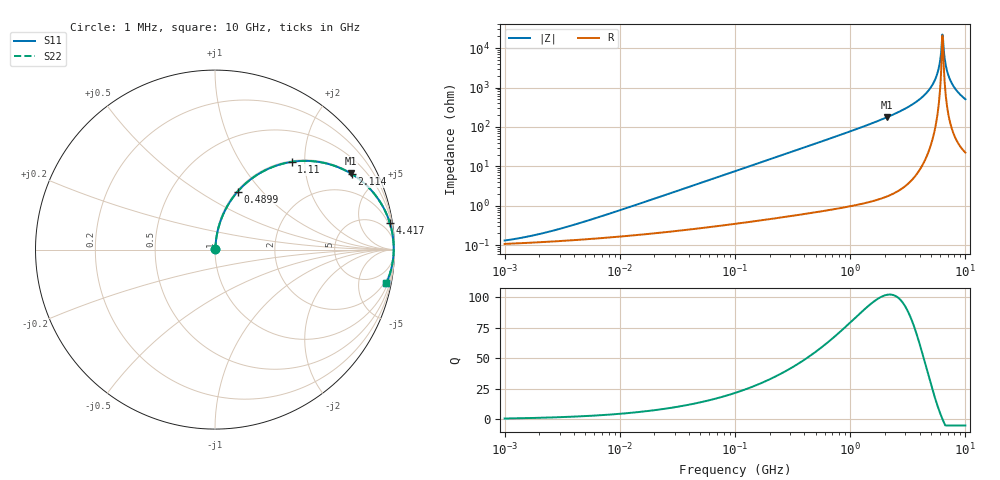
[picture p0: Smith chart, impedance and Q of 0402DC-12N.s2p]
# MHz  S  MA  R  50
!Freq  MagS11  AngS11  MagS21  AngS21  MagS12  AngS12  MagS22  AngS22
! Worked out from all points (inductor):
!   801 points, 1 MHz to 10 GHz, reference 50 ohm
!   read as one part in series: L = 12 nH near 5.822 MHz
!   highest Q = 102 at 2.09 GHz (marker M1), where L = 13.5 nH
!   self-resonance near 6.312 GHz
!   S11 on the Smith chart (normalised r, x): 1 MHz: 1.00, +0.00; 489.9 MHz: 1.01, +0.74; 1.11 GHz: 1.02, +1.73; 2.114 GHz: 1.04, +3.59; 4.417 GHz: 1, +13; 10 GHz: 1, -10
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1  0.001316 34.9  0.9989 -0.0  0.9989 -0.0  0.001316 34.9
4.67769  0.003786 68.3  0.9986 -0.2  0.9986 -0.2  0.003786 68.3
21.6303  0.0164 81.9  0.9978 -0.9  0.9978 -0.9  0.0164 81.9
100.0216  0.07504 83.1  0.9937 -4.3  0.9937 -4.3  0.07504 83.1
467.8699  0.3324 69.5  0.9369 -19.4  0.9369 -19.4  0.3324 69.5
489.921  0.3463 68.7  0.9318 -20.3  0.9318 -20.3  0.3463 68.7
1109.539  0.6495 48.8  0.7526 -40.5  0.7526 -40.5  0.6495 48.8
2090.045  0.8668 29.4  0.4902 -60.1  0.4902 -60.1  0.8668 29.4
2114.247  0.8699 29.0  0.4849 -60.4  0.4849 -60.4  0.8699 29.0
2163.497  0.8758 28.3  0.4742 -61.1  0.4742 -61.1  0.8758 28.3
3274.649  0.9556 16.5  0.2836 -72.9  0.2836 -72.9  0.9556 16.5
4417.441  0.9852 8.7  0.152 -80.1  0.152 -80.1  0.9852 8.7
5013.874  0.9918 5.6  0.09808 -82.4  0.09808 -82.4  0.9918 5.6
5497.627  0.9946 3.4  0.05937 -83.1  0.05937 -83.1  0.9946 3.4
5823.397  0.9955 2.0  0.03538 -81.7  0.03538 -81.7  0.9955 2.0
6168.472  0.9958 0.6  0.01187 -69.2  0.01187 -69.2  0.9958 0.6
6312.161  0.9958 0.1  0.00449 -20.0  0.00449 -20.0  0.9958 0.1
6533.995  0.9955 -0.7  0.01358 70.3  0.01358 70.3  0.9955 -0.7
7001.324  0.9943 -2.4  0.04193 81.0  0.04193 81.0  0.9943 -2.4
7502.078  0.9922 -4.0  0.07071 81.6  0.07071 81.6  0.9922 -4.0
8514.99  0.9858 -7.1  0.1239 79.9  0.1239 79.9  0.9858 -7.1
10000  0.9728 -11.1  0.1925 76.4  0.1925 76.4  0.9728 -11.1
